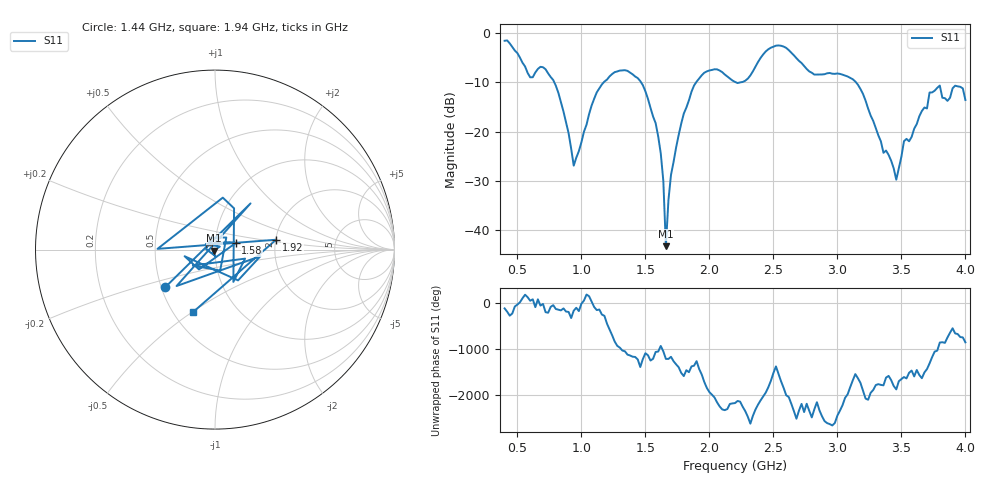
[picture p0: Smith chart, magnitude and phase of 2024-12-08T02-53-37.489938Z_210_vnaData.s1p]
!Created with skrf (http://scikit-rf.org).
# Hz S RI R 50.0
!freq ReS11 ImS11
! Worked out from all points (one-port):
!   181 points, 400 MHz to 4 GHz, reference 50 ohm
!   lowest |S11| = -43.2 dB at 1.66 GHz (marker M1), VSWR 1.01, Z = 49.5 - j0.509 ohm
!   |S11| at or under -10 dB: 787.8 MHz to 1.175 GHz (387.5 MHz wide, 39.5 % of centre); 1.466 GHz to 1.897 GHz (431.6 MHz wide, 25.7 % of centre); 3.145 GHz to end of sweep (the widest 3 of 4)
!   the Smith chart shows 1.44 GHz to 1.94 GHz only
!   S11 on the Smith chart (normalised r, x): 1.44 GHz: 0.52, -0.25; 1.58 GHz: 1.26, +0.10; 1.92 GHz: 2.01, +0.25; 1.94 GHz: 0.62, -0.50
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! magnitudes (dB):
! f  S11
! 400 MHz  -1.6
! 600 MHz  -9.0
! 720 MHz  -7.4
! 860 MHz  -15.9
! 940 MHz  -26.9
! 1.12 GHz  -12.1
! 1.3 GHz  -7.6
! 1.44 GHz  -9.2
! 1.58 GHz  -18.3
! 1.64 GHz  -30.0
! 1.66 GHz  -43.2
! 1.7 GHz  -28.8
! 1.76 GHz  -20.7
! 1.92 GHz  -9.2
! 1.94 GHz  -8.6
! 2.2 GHz  -9.9
! 2.48 GHz  -3.0
! 2.66 GHz  -4.5
! 3.1 GHz  -9.1
! 3.2 GHz  -12.4
! 3.46 GHz  -29.8
! 3.52 GHz  -22.0
! 3.56 GHz  -22.0
! 3.72 GHz  -12.1
! 3.8 GHz  -10.7
! 3.86 GHz  -13.8
! 3.92 GHz  -10.7
! 4 GHz  -13.6
